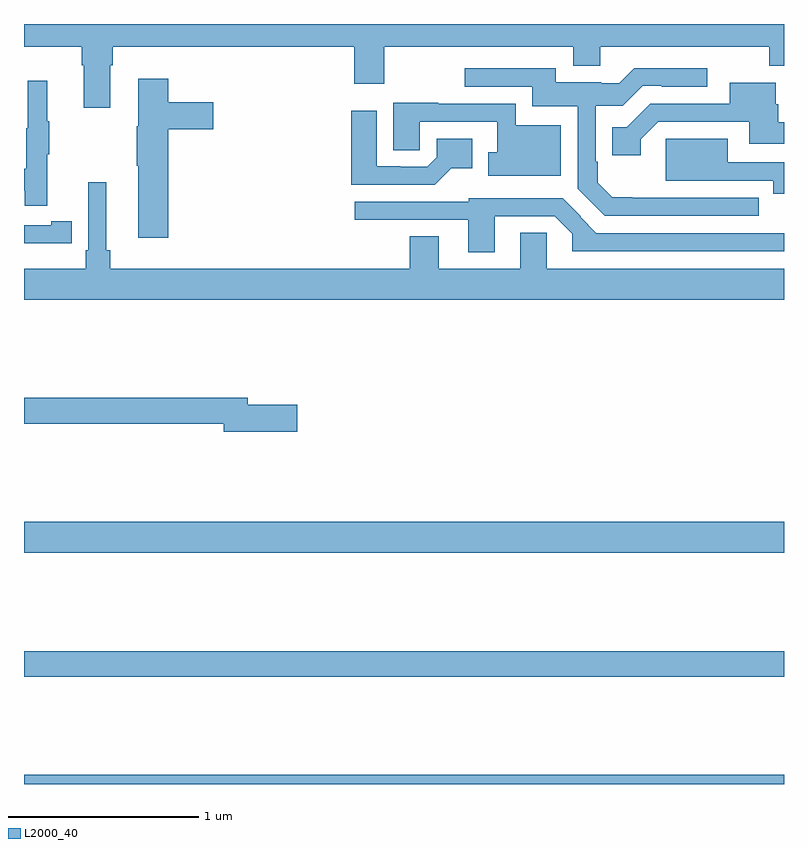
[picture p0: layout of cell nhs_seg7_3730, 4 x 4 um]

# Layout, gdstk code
import gdstk
lib = gdstk.Library(unit=1e-6, precision=1e-09)
def R(c, l, rs):  # rectangles x0, y0, x1, y1
    for r in rs: c.add(gdstk.rectangle(r[:2], r[2:], *l))
def P(c, l, *ps):  # polygons
    for p in ps: c.add(gdstk.Polygon(p, *l))
L2000_40 = (2000, 40)

nhs_seg7_3730 = lib.new_cell('nhs_seg7_3730')
R(nhs_seg7_3730, L2000_40, [(347,1066,351,1066.048), (347,1066.564,351,1066.7), (347,1067.216,351,1067.38)])
P(nhs_seg7_3730, L2000_40, [(347.455,1069.784),(347.468,1069.784),(347.468,1069.88),(348.737,1069.88),(348.737,1069.686),(348.897,1069.686),(348.897,1069.88),(349.892,1069.88),(349.892,1069.781),(350.032,1069.781),(350.032,1069.88),(350.923,1069.88),(350.923,1069.781),(351,1069.781),(351,1070),(347,1070),(347,1069.88),(347.303,1069.88),(347.303,1069.784),(347.315,1069.784),(347.315,1069.56),(347.455,1069.56)],
  [(350.866,1069.086),(350.2,1069.086),(350.2,1069.089),(350.096,1069.089),(350.02,1069.164),(350.02,1069.276),(350.01,1069.276),(350.01,1069.569),(350.151,1069.569),(350.256,1069.674),(350.356,1069.674),(350.356,1069.671),(350.596,1069.671),(350.596,1069.768),(350.212,1069.768),(350.133,1069.689),(350.039,1069.689),(350.039,1069.693),(349.798,1069.693),(349.798,1069.767),(349.32,1069.767),(349.32,1069.671),(349.676,1069.671),(349.676,1069.568),(349.914,1069.568),(349.914,1069.133),(350.057,1068.99),(350.866,1068.99)],
  [(347.759,1069.445),(347.995,1069.445),(347.995,1069.587),(347.759,1069.587),(347.759,1069.711),(347.6,1069.711),(347.6,1069.461),(347.593,1069.461),(347.593,1069.255),(347.6,1069.255),(347.6,1068.876),(347.759,1068.876)],
  [(347.123,1069.315),(347.134,1069.315),(347.134,1069.489),(347.123,1069.489),(347.123,1069.702),(347.02,1069.702),(347.02,1069.452),(347.013,1069.452),(347.013,1069.238),(347,1069.238),(347,1069.122),(347.005,1069.122),(347.005,1069.044),(347.123,1069.044)],
  [(350.245,1069.393),(350.337,1069.485),(350.816,1069.485),(350.816,1069.37),(351,1069.37),(351,1069.484),(350.969,1069.484),(350.969,1069.578),(350.956,1069.578),(350.956,1069.69),(350.714,1069.69),(350.714,1069.581),(350.297,1069.581),(350.172,1069.456),(350.095,1069.456),(350.095,1069.308),(350.245,1069.308)],
  [(349.825,1069.468),(349.587,1069.468),(349.587,1069.581),(349.18,1069.581),(349.18,1069.586),(348.944,1069.586),(348.944,1069.336),(349.083,1069.336),(349.083,1069.485),(349.49,1069.485),(349.49,1069.324),(349.444,1069.324),(349.444,1069.202),(349.825,1069.202)],
  [(349.248,1069.241),(349.359,1069.241),(349.359,1069.396),(349.173,1069.396),(349.173,1069.299),(349.122,1069.248),(348.98,1069.248),(348.98,1069.251),(348.856,1069.251),(348.856,1069.543),(348.722,1069.543),(348.722,1069.155),(349.162,1069.155)],
  [(351,1069.272),(350.704,1069.272),(350.704,1069.396),(350.378,1069.396),(350.378,1069.175),(350.6,1069.175),(350.6,1069.176),(350.944,1069.176),(350.944,1069.107),(351,1069.107)],
  [(351,1068.712),(349.752,1068.712),(349.752,1068.902),(349.613,1068.902),(349.613,1068.712),(349.183,1068.712),(349.183,1068.884),(349.031,1068.884),(349.031,1068.712),(347.453,1068.712),(347.453,1068.808),(347.434,1068.808),(347.434,1069.168),(347.337,1069.168),(347.337,1068.808),(347.324,1068.808),(347.324,1068.712),(347,1068.712),(347,1068.548),(351,1068.548)],
  [(349.477,1068.987),(349.794,1068.987),(349.885,1068.897),(349.885,1068.804),(351,1068.804),(351,1068.9),(350.013,1068.9),(349.928,1068.985),(349.931,1068.988),(349.836,1069.083),(349.341,1069.083),(349.341,1069.065),(348.741,1069.065),(348.741,1068.969),(349.337,1068.969),(349.337,1068.798),(349.477,1068.798)],
  [(347.144,1068.846),(347.252,1068.846),(347.252,1068.962),(347.144,1068.962),(347.144,1068.942),(347,1068.942),(347,1068.845),(347.144,1068.845)],
  [(348.439,1067.996),(348.178,1067.996),(348.178,1068.032),(347,1068.032),(347,1067.896),(348.05,1067.896),(348.05,1067.854),(348.439,1067.854)])

lib.write_gds('nhs_seg7_3730.gds')
